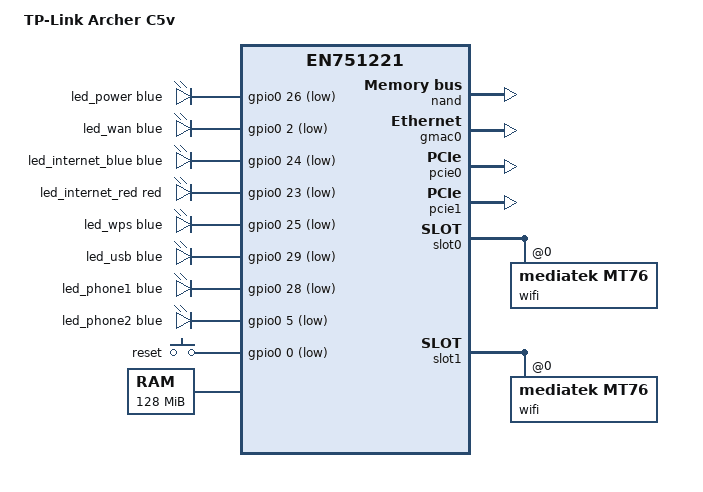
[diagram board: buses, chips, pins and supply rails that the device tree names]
// SPDX-License-Identifier: (GPL-2.0-only OR BSD-2-Clause)
/dts-v1/;
#include "en751221.dtsi"
#include <dt-bindings/gpio/gpio.h>
#include <dt-bindings/input/input.h>
#include <dt-bindings/leds/common.h>
/ {
	model = "TP-Link Archer C5v";
	compatible = "tplink,archer-c5v", "econet,en751221";

	aliases {
		led-boot = &led_power;
		led-failsafe = &led_power;
		led-running = &led_power;
		led-upgrade = &led_power;
	};

	leds {
		compatible = "gpio-leds";

		/*
		 * GPIO haritası gpio-probe.sh ile cihazda doğrulandı (2026-07-14).
		 * Tümü ACTIVE_LOW varsayıldı (TP-Link konvansiyonu); flash sonrası
		 * ters yanan olursa GPIO_ACTIVE_HIGH'a çevir.
		 * Wi-Fi 2.4G/5G LED'leri burada YOK — onlar SoC GPIO değil, mt76
		 * wifi çipinin LED pininde (ayrı iş, mt76 DTS özellikleri).
		 */
		led_power: power {
			color = <LED_COLOR_ID_BLUE>;
			function = LED_FUNCTION_POWER;
			gpios = <&gpio0 26 GPIO_ACTIVE_LOW>;
		};

		led_wan: wan {
			color = <LED_COLOR_ID_BLUE>;
			function = LED_FUNCTION_WAN;
			gpios = <&gpio0 2 GPIO_ACTIVE_LOW>;
		};

		/* Internet LED çift renkli: internet VAR=mavi, YOK=kırmızı.
		 * Geçişi userspace sürer (internet-led.sh, /etc/hotplug.d/iface). */
		led_internet_blue: internet-blue {
			color = <LED_COLOR_ID_BLUE>;
			function = LED_FUNCTION_WAN_ONLINE;
			gpios = <&gpio0 24 GPIO_ACTIVE_LOW>;
		};

		led_internet_red: internet-red {
			color = <LED_COLOR_ID_RED>;
			function = LED_FUNCTION_WAN;
			gpios = <&gpio0 23 GPIO_ACTIVE_LOW>;
		};

		led_wps: wps {
			color = <LED_COLOR_ID_BLUE>;
			function = LED_FUNCTION_WPS;
			gpios = <&gpio0 25 GPIO_ACTIVE_LOW>;
		};

		led_usb: usb {
			color = <LED_COLOR_ID_BLUE>;
			function = LED_FUNCTION_USB;
			gpios = <&gpio0 29 GPIO_ACTIVE_LOW>;
			/* usbport trigger'ı flash sonrası uci ile eklenebilir */
		};

		led_phone1: phone1 {
			color = <LED_COLOR_ID_BLUE>;
			function = "phone";
			function-enumerator = <1>;
			gpios = <&gpio0 28 GPIO_ACTIVE_LOW>;
		};

		led_phone2: phone2 {
			color = <LED_COLOR_ID_BLUE>;
			function = "phone";
			function-enumerator = <2>;
			gpios = <&gpio0 5 GPIO_ACTIVE_LOW>;
		};
	};

	keys {
		compatible = "gpio-keys-polled";
		poll-interval = <20>;

		/*
		 * Buton GPIO'ları + polariteleri cihazda DOĞRULANDI (2026-07-15):
		 *   reset: gpio0 0,  ACTIVE_LOW  (boşta HIGH, kararlı)
		 *   wifi:  gpio0 19, ACTIVE_HIGH (boşta LOW, kararlı) -- KALDIRILDI, aşağı bak
		 * reset active-low, wifi active-high.
		 *
		 * WPS (gpio0 3) KALDIRILDI (2026-08-09): pin FLOATING okuyor (boşta
		 * kararsız hi/lo; 10 örnekte ~1 kez hayalet 'hi'). ACTIVE_HIGH tanımlı
		 * olduğundan bu hayalet 'hi' = sahte KEY_WPS_BUTTON basımı. Preinit
		 * failsafe penceresine denk gelen HERHANGİ bir buton basımı
		 * /etc/rc.button/failsafe -> /tmp/failsafe_button yazıp cihazı ARALIKLI
		 * olarak FAILSAFE'e düşürüyordu (seri gerekmeden, açılışta rastgele).
		 * WPS butonu işlevsel gereksinim değil; pin güvenilir olmadığı için
		 * tamamen çıkarıldı. Tekrar isteniyorsa donanımda kararlı pull gerekir.
		 *
		 * WiFi (gpio0 19, KEY_RFKILL) KALDIRILDI (2026-08-09): buton kararlı
		 * (floating değil) ama /etc/rc.button/rfkill wifi'yi kapatırken
		 * `uci commit wireless` yapıyor -> tek yanlışlıkla basış WiFi'yi KALICI
		 * kapatıyor (reboot'ta da kapalı; müşteri "internetim gitti" der).
		 * Müşteri ürünü için kaza-korumalı olsun diye butonu devre dışı bıraktık.
		 * Geri istenirse aşağıdaki key-wifi node'unun yorumunu kaldır (donanımda
		 * pin kararlı: boşta gpio0 19 = LOW).
		 */
		key-reset {
			label = "reset";
			gpios = <&gpio0 0 GPIO_ACTIVE_LOW>;
			linux,code = <KEY_RESTART>;
		};

		/* Geri açmak için yorumu kaldır (bkz. yukarıdaki not):
		key-wifi {
			label = "wifi";
			gpios = <&gpio0 19 GPIO_ACTIVE_HIGH>;
			linux,code = <KEY_RFKILL>;
		};
		*/
	};
	memory@0 {
		device_type = "memory";
		reg = <0x00000000 0x8000000>;
	};
	chosen {
		stdout-path = "/serial@1fbf0000:115200";
		linux,usable-memory-range = <0x00020000 0x07fe0000>;
		bootargs = "ubi.mtd=ubi";
	};

	reserved-memory {
		#address-cells = <1>;
		#size-cells = <1>;
		ranges;

		/* Crash log storage surviving warm reboots (pstore/ramoops).
		 * Top 256 KiB of the 128 MiB DRAM: 4x32K oops/panic dumps,
		 * 96K console ring, 32K pmsg.
		 */
		ramoops@7fc0000 {
			compatible = "ramoops";
			reg = <0x07fc0000 0x40000>;
			record-size = <0x8000>;
			console-size = <0x18000>;
			pmsg-size = <0x8000>;
		};
	};
};
&nand {
	status = "okay";
	econet,bmt;

	partitions {
		compatible = "fixed-partitions";
		#address-cells = <1>;
		#size-cells = <1>;

		/*
		 * UBI layout. The vendor bootloader reads the kernel slot raw from
		 * 0x20000 (TP-Link v2 header + LZMA kernel), so the kernel stays a
		 * plain BMT partition. Everything from 0x420000 up to romfile is a
		 * single UBI partition holding the squashfs rootfs + ubifs overlay
		 * volumes; the stock second slot (kernel_2/rootfs_2) is folded into
		 * it. The UBI partition deliberately has no econet,enable-remap so
		 * UBI does its own bad-block management; en75_bmt (econet,bmt) only
		 * applies the existing factory bad-block map, which is safe here.
		 *
		 *   0x000000-0x020000  boot
		 *   0x020000-0x420000  kernel  (4 MB, raw, tplink-v2-header + LZMA)
		 *   0x420000-0x6420000 ubi     (96 MB)
		 *   0x6420000-0x6440000 romfile
		 *   0x6440000-0x6460000 config
		 *   0x6460000-0x6480000 radio  (Wi-Fi calibration)
		 *   0x6480000-0x7340000 reserve_area (holds the BMT)
		 */
		partition@0 {
			label = "boot";
			reg = <0x0 0x20000>;
			read-only;
		};

		partition@20000 {
			label = "kernel";
			reg = <0x20000 0x400000>;
		};

		partition@420000 {
			label = "ubi";
			reg = <0x420000 0x6000000>;
		};

		partition@6420000 {
			label = "romfile";
			reg = <0x6420000 0x20000>;
			read-only;

			nvmem-layout {
				compatible = "fixed-layout";
				#address-cells = <1>;
				#size-cells = <1>;

				/* Base MAC; the label MAC (LAN) is base + 2. */
				macaddr_romfile_f100: macaddr@f100 {
					compatible = "mac-base";
					reg = <0xf100 0x6>;
					#nvmem-cell-cells = <1>;
				};
			};
		};

		partition@6440000 {
			label = "config";
			reg = <0x6440000 0x20000>;
		};

		radio: partition@6460000 {
			label = "radio";
			reg = <0x6460000 0x20000>;
			read-only;
		};

		partition@6480000 {
			label = "reserve_area";
			reg = <0x6480000 0xec0000>;
			read-only;
		};
	};
};
&gmac0 {
	status = "okay";
	nvmem-cells = <&macaddr_romfile_f100 2>;
	nvmem-cell-names = "mac-address";
};

&ethernet {
	econet,mt7530-vlan-split;
	econet,mt7530-cpu-port = <6>;
	econet,mt7530-lan-ports = <0 1 2 3>;
	econet,mt7530-lan-vid = <1>;
	econet,mt7530-wan-port = <4>;
	econet,mt7530-wan-vid = <35>;
};
&pcie0 {
	status = "okay";
};
&pcie1 {
	status = "okay";
};

/* MT7592N 2.4 GHz (mt7603e), calibration at radio partition offset 0x0 */
&slot0 {
	wifi@0,0 {
		compatible = "mediatek,mt76";
		reg = <0x0000 0 0 0 0>;
		mediatek,mtd-eeprom = <&radio 0x0>;
		nvmem-cells = <&macaddr_romfile_f100 0>;
		nvmem-cell-names = "mac-address";

		/* Front-panel 2.4 GHz LED: mt7603 chip LED pin 0 (default),
		 * active-low (test: brightness=255 söndürdü, 0 yaktı = ters).
		 * mt76-phy0 registration için mt76 patch 004 (subdir LED define)
		 * gerekti. */
		led {
			led-active-low;
		};
	};
};

/* MT7612EN 5 GHz (mt76x2e), calibration at radio partition offset 0x8000 */
&slot1 {
	wifi@0,0 {
		compatible = "mediatek,mt76";
		reg = <0x0000 0 0 0 0>;
		mediatek,mtd-eeprom = <&radio 0x8000>;
		nvmem-cells = <&macaddr_romfile_f100 1>;
		nvmem-cell-names = "mac-address";

		/* Front-panel 5 GHz LED: mt76x2 chip LED pin 2, active-low
		 * (bulundu: wifi-led-regtest.sh, pin2 + POLARITY yaktı). */
		led {
			led-sources = <2>;
			led-active-low;
		};
	};
};
